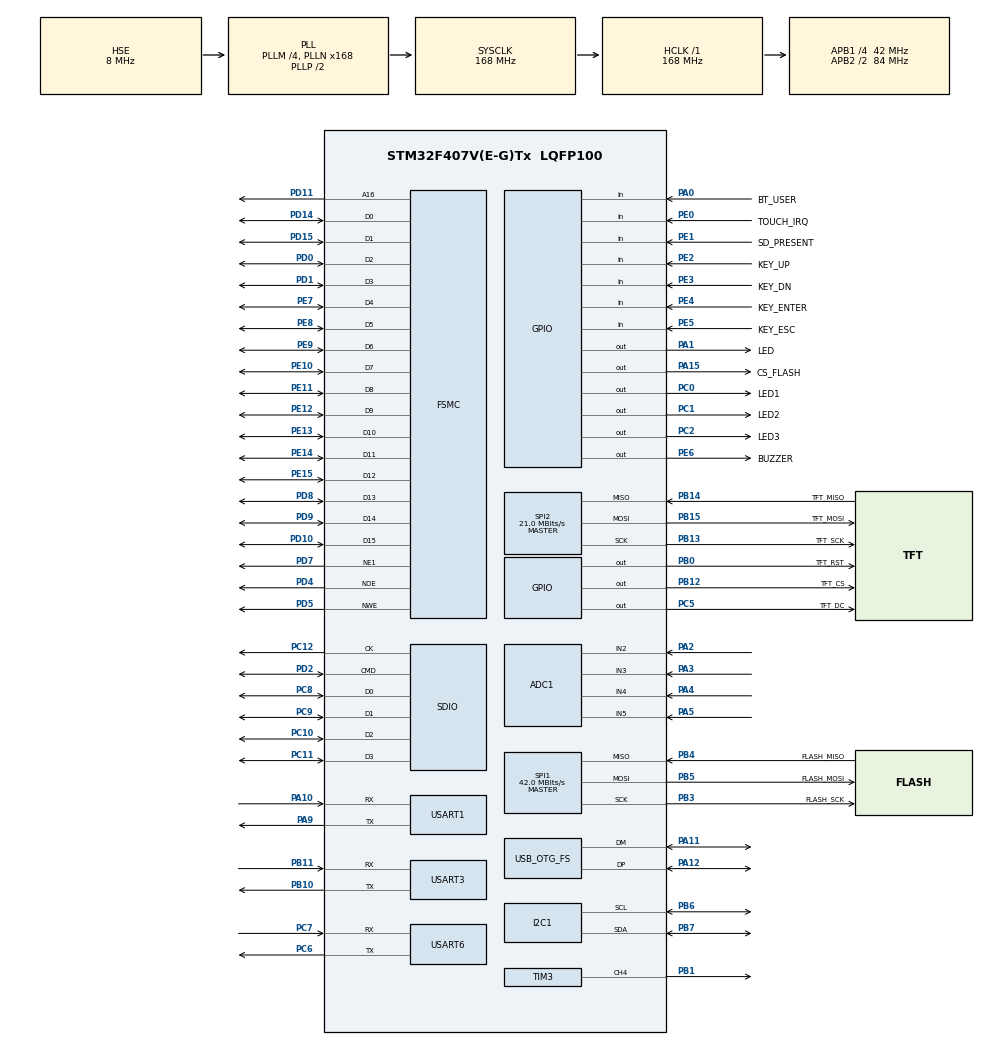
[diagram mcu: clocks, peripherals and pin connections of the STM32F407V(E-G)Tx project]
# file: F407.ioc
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ADC1.Channel-0\#ChannelRegularConversion=ADC_CHANNEL_2
ADC1.Channel-4\#ChannelRegularConversion=ADC_CHANNEL_3
ADC1.Channel-5\#ChannelRegularConversion=ADC_CHANNEL_4
ADC1.Channel-6\#ChannelRegularConversion=ADC_CHANNEL_5
ADC1.ContinuousConvMode=ENABLE
ADC1.DMAContinuousRequests=ENABLE
ADC1.EOCSelection=ADC_EOC_SEQ_CONV
ADC1.NbrOfConversion=4
ADC1.NbrOfConversionFlag=1
ADC1.Rank-0\#ChannelRegularConversion=1
ADC1.Rank-4\#ChannelRegularConversion=2
ADC1.Rank-5\#ChannelRegularConversion=3
ADC1.Rank-6\#ChannelRegularConversion=4
ADC1.SamplingTime-0\#ChannelRegularConversion=ADC_SAMPLETIME_28CYCLES
ADC1.SamplingTime-4\#ChannelRegularConversion=ADC_SAMPLETIME_28CYCLES
ADC1.SamplingTime-5\#ChannelRegularConversion=ADC_SAMPLETIME_28CYCLES
ADC1.SamplingTime-6\#ChannelRegularConversion=ADC_SAMPLETIME_28CYCLES
ADC1.master=1
ARM.CMSIS.5.6.0.CMSISJjDSP=Library
Dma.ADC1.2.Direction=DMA_PERIPH_TO_MEMORY
Dma.ADC1.2.FIFOMode=DMA_FIFOMODE_DISABLE
Dma.ADC1.2.Instance=DMA2_Stream0
Dma.ADC1.2.MemDataAlignment=DMA_MDATAALIGN_HALFWORD
Dma.ADC1.2.MemInc=DMA_MINC_ENABLE
Dma.ADC1.2.Mode=DMA_CIRCULAR
Dma.ADC1.2.PeriphDataAlignment=DMA_PDATAALIGN_HALFWORD
Dma.ADC1.2.PeriphInc=DMA_PINC_DISABLE
Dma.ADC1.2.Priority=DMA_PRIORITY_LOW
Dma.MEMTOMEM.4.Direction=DMA_MEMORY_TO_MEMORY
Dma.MEMTOMEM.4.FIFOMode=DMA_FIFOMODE_ENABLE
Dma.MEMTOMEM.4.FIFOThreshold=DMA_FIFO_THRESHOLD_FULL
Dma.MEMTOMEM.4.Instance=DMA2_Stream1
Dma.MEMTOMEM.4.MemBurst=DMA_MBURST_SINGLE
Dma.MEMTOMEM.4.MemDataAlignment=DMA_MDATAALIGN_BYTE
Dma.MEMTOMEM.4.MemInc=DMA_MINC_ENABLE
Dma.MEMTOMEM.4.Mode=DMA_NORMAL
Dma.MEMTOMEM.4.PeriphBurst=DMA_PBURST_SINGLE
Dma.MEMTOMEM.4.PeriphDataAlignment=DMA_PDATAALIGN_BYTE
Dma.MEMTOMEM.4.PeriphInc=DMA_PINC_ENABLE
Dma.MEMTOMEM.4.Priority=DMA_PRIORITY_LOW
Dma.Request0=SDIO_RX
Dma.Request1=SDIO_TX
Dma.Request2=ADC1
Dma.Request3=SPI1_RX
Dma.Request4=MEMTOMEM
Dma.Request5=SPI2_RX
Dma.SDIO_RX.0.Direction=DMA_PERIPH_TO_MEMORY
Dma.SDIO_RX.0.FIFOMode=DMA_FIFOMODE_ENABLE
Dma.SDIO_RX.0.FIFOThreshold=DMA_FIFO_THRESHOLD_FULL
Dma.SDIO_RX.0.Instance=DMA2_Stream3
Dma.SDIO_RX.0.MemBurst=DMA_MBURST_INC4
Dma.SDIO_RX.0.MemDataAlignment=DMA_MDATAALIGN_WORD
Dma.SDIO_RX.0.MemInc=DMA_MINC_ENABLE
Dma.SDIO_RX.0.Mode=DMA_PFCTRL
Dma.SDIO_RX.0.PeriphBurst=DMA_PBURST_INC4
Dma.SDIO_RX.0.PeriphDataAlignment=DMA_PDATAALIGN_WORD
Dma.SDIO_RX.0.PeriphInc=DMA_PINC_DISABLE
Dma.SDIO_RX.0.Priority=DMA_PRIORITY_LOW
Dma.SDIO_TX.1.Direction=DMA_MEMORY_TO_PERIPH
Dma.SDIO_TX.1.FIFOMode=DMA_FIFOMODE_ENABLE
Dma.SDIO_TX.1.FIFOThreshold=DMA_FIFO_THRESHOLD_FULL
Dma.SDIO_TX.1.Instance=DMA2_Stream6
Dma.SDIO_TX.1.MemBurst=DMA_MBURST_INC4
Dma.SDIO_TX.1.MemDataAlignment=DMA_MDATAALIGN_WORD
Dma.SDIO_TX.1.MemInc=DMA_MINC_ENABLE
Dma.SDIO_TX.1.Mode=DMA_PFCTRL
Dma.SDIO_TX.1.PeriphBurst=DMA_PBURST_INC4
Dma.SDIO_TX.1.PeriphDataAlignment=DMA_PDATAALIGN_WORD
Dma.SDIO_TX.1.PeriphInc=DMA_PINC_DISABLE
Dma.SDIO_TX.1.Priority=DMA_PRIORITY_LOW
Dma.SPI1_RX.3.Direction=DMA_PERIPH_TO_MEMORY
Dma.SPI1_RX.3.FIFOMode=DMA_FIFOMODE_DISABLE
Dma.SPI1_RX.3.Instance=DMA2_Stream2
Dma.SPI1_RX.3.MemDataAlignment=DMA_MDATAALIGN_BYTE
Dma.SPI1_RX.3.MemInc=DMA_MINC_ENABLE
Dma.SPI1_RX.3.Mode=DMA_NORMAL
Dma.SPI1_RX.3.PeriphDataAlignment=DMA_PDATAALIGN_BYTE
Dma.SPI1_RX.3.PeriphInc=DMA_PINC_DISABLE
Dma.SPI1_RX.3.Priority=DMA_PRIORITY_LOW
Dma.SPI2_RX.5.Direction=DMA_PERIPH_TO_MEMORY
Dma.SPI2_RX.5.FIFOMode=DMA_FIFOMODE_DISABLE
Dma.SPI2_RX.5.Instance=DMA1_Stream3
Dma.SPI2_RX.5.MemDataAlignment=DMA_MDATAALIGN_BYTE
Dma.SPI2_RX.5.MemInc=DMA_MINC_ENABLE
Dma.SPI2_RX.5.Mode=DMA_NORMAL
Dma.SPI2_RX.5.PeriphDataAlignment=DMA_PDATAALIGN_BYTE
Dma.SPI2_RX.5.PeriphInc=DMA_PINC_DISABLE
Dma.SPI2_RX.5.Priority=DMA_PRIORITY_LOW
FATFS.BSP.number=1
FATFS.USE_DMA_CODE_SD=1
FATFS._FS_EXFAT=1
FATFS._MAX_SS=512
FATFS._USE_LFN=3
FATFS0.BSP.STBoard=false
FATFS0.BSP.api=Unknown
FATFS0.BSP.i2caddr=0
FATFS0.BSP.instance=PE1
FATFS0.BSP.ip=GPIO
FATFS0.BSP.mode=Input
FATFS0.BSP.name=Detect_SDIO
FATFS0.BSP.solution=PE1
FREERTOS.Tasks01=defaultTask,24,512,StartDefaultTask,Default,NULL,Dynamic,NULL,NULL;TaskGUI,25,6000,StartTaskGUI,Default,NULL,Dynamic,NULL,NULL
FREERTOS.configENABLE_FPU=1
FREERTOS.configMINIMAL_STACK_SIZE=512
FREERTOS.configTOTAL_HEAP_SIZE=32767
FSMC.DataSetupTime1=254
FSMC.ExtendedMode1=FSMC_EXTENDED_MODE_ENABLE
I2C1.I2C_Mode=I2C_Fast
Mcu.Family=STM32F4
Mcu.Name=STM32F407V(E-G)Tx
Mcu.Package=LQFP100
NVIC.ADC_IRQn=true\:5\:0\:false\:false\:true\:true\:true\:true
NVIC.DMA1_Stream3_IRQn=true\:5\:0\:false\:false\:true\:true\:false\:true
NVIC.DMA2_Stream0_IRQn=true\:5\:0\:false\:false\:true\:true\:false\:true
NVIC.DMA2_Stream2_IRQn=true\:5\:0\:false\:false\:true\:true\:false\:true
NVIC.DMA2_Stream3_IRQn=true\:5\:0\:false\:false\:true\:true\:false\:true
NVIC.DMA2_Stream6_IRQn=true\:5\:0\:false\:false\:true\:true\:false\:true
NVIC.OTG_FS_IRQn=true\:5\:0\:false\:false\:true\:true\:false\:true
NVIC.PriorityGroup=NVIC_PRIORITYGROUP_4
NVIC.SDIO_IRQn=true\:5\:0\:false\:false\:true\:true\:true\:true
NVIC.SPI1_IRQn=true\:5\:0\:false\:false\:true\:true\:true\:true
NVIC.SPI2_IRQn=true\:5\:0\:false\:false\:true\:true\:true\:true
NVIC.TIM6_DAC_IRQn=true\:0\:0\:false\:false\:true\:false\:false\:true
NVIC.TimeBase=TIM6_DAC_IRQn
NVIC.TimeBaseIP=TIM6
NVIC.USART1_IRQn=true\:5\:0\:false\:false\:true\:true\:true\:true
NVIC.USART6_IRQn=true\:5\:0\:false\:false\:true\:true\:true\:true
PA0-WKUP.GPIO_Label=BT_USER
PA0-WKUP.GPIO_PuPd=GPIO_PULLDOWN
PA0-WKUP.Signal=GPIO_Input
PA1.GPIO_Label=LED
PA1.PinState=GPIO_PIN_SET
PA1.Signal=GPIO_Output
PA10.Mode=Asynchronous
PA10.Signal=USART1_RX
PA11.Mode=Device_Only
PA11.Signal=USB_OTG_FS_DM
PA12.Mode=Device_Only
PA12.Signal=USB_OTG_FS_DP
PA13.Mode=Serial_Wire
PA13.Signal=SYS_JTMS-SWDIO
PA14.Mode=Serial_Wire
PA14.Signal=SYS_JTCK-SWCLK
PA15.GPIO_Label=CS_FLASH
PA15.PinState=GPIO_PIN_SET
PA15.Signal=GPIO_Output
PA2.Signal=ADCx_IN2
PA3.Signal=ADCx_IN3
PA4.Signal=ADCx_IN4
PA5.Signal=ADCx_IN5
PA9.Mode=Asynchronous
PA9.Signal=USART1_TX
PB0.GPIO_Label=TFT_RST
PB0.PinState=GPIO_PIN_SET
PB0.Signal=GPIO_Output
PB1.Signal=S_TIM3_CH4
PB10.Mode=Asynchronous
PB10.Signal=USART3_TX
PB11.Mode=Asynchronous
PB11.Signal=USART3_RX
PB12.GPIO_Label=TFT_CS
PB12.PinState=GPIO_PIN_SET
PB12.Signal=GPIO_Output
PB13.GPIO_Label=TFT_SCK
PB13.Mode=Full_Duplex_Master
PB13.Signal=SPI2_SCK
PB14.GPIO_Label=TFT_MISO
PB14.Mode=Full_Duplex_Master
PB14.Signal=SPI2_MISO
PB15.GPIO_Label=TFT_MOSI
PB15.Mode=Full_Duplex_Master
PB15.Signal=SPI2_MOSI
PB3.GPIO_Label=FLASH_SCK
PB3.Mode=Full_Duplex_Master
PB3.Signal=SPI1_SCK
PB4.GPIO_Label=FLASH_MISO
PB4.Mode=Full_Duplex_Master
PB4.Signal=SPI1_MISO
PB5.GPIO_Label=FLASH_MOSI
PB5.Mode=Full_Duplex_Master
PB5.Signal=SPI1_MOSI
PB6.Mode=I2C
PB6.Signal=I2C1_SCL
PB7.Mode=I2C
PB7.Signal=I2C1_SDA
PC0.GPIO_Label=LED1
PC0.PinState=GPIO_PIN_SET
PC0.Signal=GPIO_Output
PC1.GPIO_Label=LED2
PC1.PinState=GPIO_PIN_SET
PC1.Signal=GPIO_Output
PC10.GPIO_PuPd=GPIO_PULLUP
PC10.Mode=SD_4_bits_Wide_bus
PC10.Signal=SDIO_D2
PC11.GPIO_PuPd=GPIO_PULLUP
PC11.Mode=SD_4_bits_Wide_bus
PC11.Signal=SDIO_D3
PC12.GPIO_PuPd=GPIO_PULLUP
PC12.Mode=SD_4_bits_Wide_bus
PC12.Signal=SDIO_CK
PC14-OSC32_IN.Mode=LSE-External-Oscillator
PC14-OSC32_IN.Signal=RCC_OSC32_IN
PC15-OSC32_OUT.Mode=LSE-External-Oscillator
PC15-OSC32_OUT.Signal=RCC_OSC32_OUT
PC2.GPIO_Label=LED3
PC2.PinState=GPIO_PIN_SET
PC2.Signal=GPIO_Output
PC5.GPIO_Label=TFT_DC
PC5.PinState=GPIO_PIN_SET
PC5.Signal=GPIO_Output
PC6.Mode=Asynchronous
PC6.Signal=USART6_TX
PC7.Mode=Asynchronous
PC7.Signal=USART6_RX
PC8.GPIO_PuPd=GPIO_PULLUP
PC8.Mode=SD_4_bits_Wide_bus
PC8.Signal=SDIO_D0
PC9.GPIO_PuPd=GPIO_PULLUP
PC9.Mode=SD_4_bits_Wide_bus
PC9.Signal=SDIO_D1
PD0.Mode=16b-d1
PD0.Signal=FSMC_D2
PD1.Mode=16b-d1
PD1.Signal=FSMC_D3
PD10.Mode=16b-d1
PD10.Signal=FSMC_D15
PD11.Mode=A16_1
PD11.Signal=FSMC_A16
PD14.Mode=16b-d1
PD14.Signal=FSMC_D0
PD15.Mode=16b-d1
PD15.Signal=FSMC_D1
PD2.GPIO_PuPd=GPIO_PULLUP
PD2.Mode=SD_4_bits_Wide_bus
PD2.Signal=SDIO_CMD
PD4.Mode=Lcd1
PD4.Signal=FSMC_NOE
PD5.Mode=Lcd1
PD5.Signal=FSMC_NWE
PD7.Mode=NorPsramChipSelect1_1
PD7.Signal=FSMC_NE1
PD8.Mode=16b-d1
PD8.Signal=FSMC_D13
PD9.Mode=16b-d1
PD9.Signal=FSMC_D14
PE0.GPIO_Label=TOUCH_IRQ
PE0.GPIO_PuPd=GPIO_PULLUP
PE0.Signal=GPIO_Input
PE1.GPIO_Label=SD_PRESENT
PE1.GPIO_PuPd=GPIO_PULLUP
PE1.Signal=GPIO_Input
PE10.Mode=16b-d1
PE10.Signal=FSMC_D7
PE11.Mode=16b-d1
PE11.Signal=FSMC_D8
PE12.Mode=16b-d1
PE12.Signal=FSMC_D9
PE13.Mode=16b-d1
PE13.Signal=FSMC_D10
PE14.Mode=16b-d1
PE14.Signal=FSMC_D11
PE15.Mode=16b-d1
PE15.Signal=FSMC_D12
PE2.GPIO_Label=KEY_UP
PE2.GPIO_PuPd=GPIO_PULLUP
PE2.Signal=GPIO_Input
PE3.GPIO_Label=KEY_DN
PE3.GPIO_PuPd=GPIO_PULLUP
PE3.Signal=GPIO_Input
PE4.GPIO_Label=KEY_ENTER
PE4.GPIO_PuPd=GPIO_PULLUP
PE4.Signal=GPIO_Input
PE5.GPIO_Label=KEY_ESC
PE5.GPIO_PuPd=GPIO_PULLUP
PE5.Signal=GPIO_Input
PE6.GPIO_Label=BUZZER
PE6.Signal=GPIO_Output
PE7.Mode=16b-d1
PE7.Signal=FSMC_D4
PE8.Mode=16b-d1
PE8.Signal=FSMC_D5
PE9.Mode=16b-d1
PE9.Signal=FSMC_D6
PH0-OSC_IN.Mode=HSE-External-Oscillator
PH0-OSC_IN.Signal=RCC_OSC_IN
PH1-OSC_OUT.Mode=HSE-External-Oscillator
PH1-OSC_OUT.Signal=RCC_OSC_OUT
ProjectManager.HeapSize=0x200
ProjectManager.StackSize=0x400
ProjectManager.TargetToolchain=STM32CubeIDE
RCC.48MHZClocksFreq_Value=48000000
RCC.AHBFreq_Value=168000000
RCC.APB1CLKDivider=RCC_HCLK_DIV4
RCC.APB1Freq_Value=42000000
RCC.APB1TimFreq_Value=84000000
RCC.APB2CLKDivider=RCC_HCLK_DIV2
RCC.APB2Freq_Value=84000000
RCC.APB2TimFreq_Value=168000000
RCC.CortexFreq_Value=168000000
RCC.HCLKFreq_Value=168000000
RCC.HSE_VALUE=8000000
RCC.HSI_VALUE=16000000
RCC.PLLM=4
RCC.PLLN=168
RCC.PLLQ=7
RCC.RCC_RTC_Clock_Source=RCC_RTCCLKSOURCE_LSE
RCC.RCC_RTC_Clock_SourceVirtual=RCC_RTCCLKSOURCE_LSE
RCC.SYSCLKFreq_VALUE=168000000
RCC.SYSCLKSource=RCC_SYSCLKSOURCE_PLLCLK
RCC.VCOOutputFreq_Value=336000000
SDIO.ClockDiv=0
SH.ADCx_IN2.0=ADC1_IN2,IN2
SH.ADCx_IN3.0=ADC1_IN3,IN3
SH.ADCx_IN4.0=ADC1_IN4,IN4
SH.ADCx_IN5.0=ADC1_IN5,IN5
SH.S_TIM3_CH4.0=TIM3_CH4,PWM Generation4 CH4
SPI1.BaudRatePrescaler=SPI_BAUDRATEPRESCALER_2
SPI1.CalculateBaudRate=42.0 MBits/s
SPI1.Direction=SPI_DIRECTION_2LINES
SPI1.Mode=SPI_MODE_MASTER
SPI1.VirtualType=VM_MASTER
SPI2.BaudRatePrescaler=SPI_BAUDRATEPRESCALER_2
SPI2.CalculateBaudRate=21.0 MBits/s
SPI2.Direction=SPI_DIRECTION_2LINES
SPI2.Mode=SPI_MODE_MASTER
SPI2.VirtualType=VM_MASTER
TIM3.Channel-PWM\ Generation4\ CH4=TIM_CHANNEL_4
TIM3.Period=4095
TIM3.Prescaler=1
USART1.VirtualMode=VM_ASYNC
USART3.VirtualMode=VM_ASYNC
USART6.VirtualMode=VM_ASYNC
USB_DEVICE.CLASS_NAME_FS=CDC
USB_DEVICE.VirtualMode-CDC_FS=Cdc
USB_DEVICE.VirtualModeFS=Cdc_FS
USB_OTG_FS.VirtualMode=Device_Only
VP_ADC1_TempSens_Input.Mode=IN-TempSens
VP_ADC1_Vbat_Input.Mode=IN-Vbat
VP_CRC_VS_CRC.Mode=CRC_Activate
VP_FATFS_VS_SDIO.Mode=SDIO
VP_FREERTOS_VS_CMSIS_V2.Mode=CMSIS_V2
VP_RNG_VS_RNG.Mode=RNG_Activate
VP_RTC_VS_RTC_Activate.Mode=RTC_Enabled
VP_SYS_VS_tim6.Mode=TIM6
VP_TIM3_VS_ClockSourceINT.Mode=Internal
VP_USB_DEVICE_VS_USB_DEVICE_CDC_FS.Mode=CDC_FS
board=custom

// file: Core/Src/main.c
/* USER CODE BEGIN Header */
/**
  ******************************************************************************
  * @file           : main.c
  * @brief          : Main program body
  ******************************************************************************
  * @attention
  *
  * <h2><center>&copy; Copyright (c) 2020 STMicroelectronics.
  * All rights reserved.</center></h2>
  *
  * This software component is licensed by ST under BSD 3-Clause license,
  * the "License"; You may not use this file except in compliance with the
  * License. You may obtain a copy of the License at:
  *                        opensource.org/licenses/BSD-3-Clause
  *
  ******************************************************************************
  */
/* USER CODE END Header */

#include "main.h"
#include "cmsis_os.h"
#include "adc.h"
#include "crc.h"
#include "dma.h"
#include "fatfs.h"
#include "i2c.h"
#include "rng.h"
#include "rtc.h"
#include "sdio.h"
#include "spi.h"
#include "tim.h"
#include "usart.h"
#include "usb_device.h"
#include "gpio.h"
#include "fsmc.h"

/* USER CODE BEGIN Includes */
#include "usbd_cdc_if.h"
#include "lvgl/lvgl.h"
#include "lv_fs_if/lv_fs_if.h"
#include "Sinteck/Driver/Drv_SSD1963.h"
#include "Sinteck/Driver/Drv_XPT2046.h"
#include "Sinteck/src/log_cdc.h"
#include "Sinteck/src/w25qxx.h"
#include "Sinteck/src/keys.h"
#include "lv_examples/lv_apps/benchmark/benchmark.h"
#include "lv_examples/lv_apps/sysmon/sysmon.h"
#include "lv_examples/lv_apps/demo/demo.h"
#include "lv_examples/lv_apps/tpcal/tpcal.h"

#include "Sinteck/GUI/Screen_Main.h"
/* USER CODE END Includes */

/* USER CODE BEGIN PTD */
#define BANK1_LCD_C    ((uint32_t)0x60000000)    // Disp Reg  ADDR
#define BANK1_LCD_D_8  ((uint32_t)0x60010000)    // Disp Data ADDR 8Bits
#define BANK1_LCD_D_16 ((uint32_t)0x60010000)    // Disp Data ADDR 16Bits
/* USER CODE END PTD */

void SystemClock_Config(void);
void MX_FREERTOS_Init(void);

/* USER CODE BEGIN 0 */
uint32_t timer_key = 0;
uint16_t adcBuffer[4]; // Buffer for store the results of the ADC conversion

extern uint32_t duracao;
extern uint8_t rData[];

extern FATFS *pfs;
extern char line[]; /* Line buffer */
extern FRESULT fr;     /* FatFs return code */
extern DWORD fre_clust;
extern uint32_t totalSpace, freeSpace;
extern uint32_t size;
extern unsigned int ByteRead;
extern uint32_t timer_sd;

/* USER CODE END 0 */

int main(void)
{

  /* MCU Configuration--------------------------------------------------------*/

  /* Reset of all peripherals, Initializes the Flash interface and the Systick. */
  HAL_Init();

  /* Configure the system clock */
  SystemClock_Config();

  /* Initialize all configured peripherals */
  MX_GPIO_Init();
  MX_DMA_Init();
  MX_ADC1_Init();
  MX_FSMC_Init();
  MX_I2C1_Init();
  MX_RTC_Init();
  MX_SDIO_SD_Init();
  MX_SPI1_Init();
  MX_SPI2_Init();
  MX_TIM3_Init();
  MX_USART1_UART_Init();
  MX_CRC_Init();
  MX_RNG_Init();
  MX_USART3_UART_Init();
  MX_USART6_UART_Init();
  /* USER CODE BEGIN 2 */

  logI("STM32F407 Test....\n\r");
  HAL_ADC_Start_DMA(&hadc1, (uint32_t*)adcBuffer, 4); // Start ADC in DMA
  HAL_TIM_PWM_Start(&htim3, TIM_CHANNEL_4);
  __HAL_TIM_SetCompare(&htim3, TIM_CHANNEL_4, 0);
  // Init Flash SPI
  W25qxx_Init();
  BSP_SD_Init();

   logI("\r\n\r\n");
   logI(" W25Q128FV SPI Test Start\n\r");

   duracao = HAL_GetTick();
   W25qxx_ReadBytes(rData, 0, 512);
   duracao = HAL_GetTick() - duracao;

   logI(" W25Q128FV SPI Test End. ( Sector = 512 ) Duracao: %ld\r\n", duracao);
   logI("\r\n\r\n");

//   logI(" W25Q128FV SPI Test Start\n\r");

 //  duracao = HAL_GetTick();
 //  W25qxx_ReadBytes(rData, 0, 4096);
//   duracao = HAL_GetTick() - duracao;

//   logI(" W25Q128FV SPI Test End. ( Sector = 4096 ) Duracao: %ld\r\n", duracao);
   logI("\r\n\r\n");

//tst:
//
//  //HAL_GPIO_TogglePin(TFT_RST_GPIO_Port, TFT_RST_Pin);
//
//  //HAL_Delay(1);
//
//*(__IO uint8_t *)(BANK1_LCD_C) = 0x55;
//*(__IO uint8_t *)(BANK1_LCD_D_8) = 0xAA;
//
//*(__IO uint8_t *)(BANK1_LCD_C) = 0x55;
//*(__IO uint16_t *)(BANK1_LCD_D_16) = 0xAA55;
//
//
//  goto tst;

   /* USER CODE END 2 */

  /* Init scheduler */
  osKernelInitialize();  /* Call init function for freertos objects (in freertos.c) */
  MX_FREERTOS_Init();
  /* Start scheduler */
  osKernelStart();

  /* We should never get here as control is now taken by the scheduler */
  /* Infinite loop */
  while (1)
  {

  }
}

void SystemClock_Config(void)
{
  RCC_OscInitTypeDef RCC_OscInitStruct = {0};
  RCC_ClkInitTypeDef RCC_ClkInitStruct = {0};
  RCC_PeriphCLKInitTypeDef PeriphClkInitStruct = {0};

  /** Configure the main internal regulator output voltage
  */
  __HAL_RCC_PWR_CLK_ENABLE();
  __HAL_PWR_VOLTAGESCALING_CONFIG(PWR_REGULATOR_VOLTAGE_SCALE1);
  /** Initializes the CPU, AHB and APB busses clocks
  */
  RCC_OscInitStruct.OscillatorType = RCC_OSCILLATORTYPE_HSE|RCC_OSCILLATORTYPE_LSE;
  RCC_OscInitStruct.HSEState = RCC_HSE_ON;
  RCC_OscInitStruct.LSEState = RCC_LSE_ON;
  RCC_OscInitStruct.PLL.PLLState = RCC_PLL_ON;
  RCC_OscInitStruct.PLL.PLLSource = RCC_PLLSOURCE_HSE;
  RCC_OscInitStruct.PLL.PLLM = 4;
  RCC_OscInitStruct.PLL.PLLN = 168;
  RCC_OscInitStruct.PLL.PLLP = RCC_PLLP_DIV2;
  RCC_OscInitStruct.PLL.PLLQ = 7;
  if (HAL_RCC_OscConfig(&RCC_OscInitStruct) != HAL_OK)
  {
    Error_Handler();
  }
  /** Initializes the CPU, AHB and APB busses clocks
  */
  RCC_ClkInitStruct.ClockType = RCC_CLOCKTYPE_HCLK|RCC_CLOCKTYPE_SYSCLK
                              |RCC_CLOCKTYPE_PCLK1|RCC_CLOCKTYPE_PCLK2;
  RCC_ClkInitStruct.SYSCLKSource = RCC_SYSCLKSOURCE_PLLCLK;
  RCC_ClkInitStruct.AHBCLKDivider = RCC_SYSCLK_DIV1;
  RCC_ClkInitStruct.APB1CLKDivider = RCC_HCLK_DIV4;
  RCC_ClkInitStruct.APB2CLKDivider = RCC_HCLK_DIV2;

  if (HAL_RCC_ClockConfig(&RCC_ClkInitStruct, FLASH_LATENCY_5) != HAL_OK)
  {
    Error_Handler();
  }
  PeriphClkInitStruct.PeriphClockSelection = RCC_PERIPHCLK_RTC;
  PeriphClkInitStruct.RTCClockSelection = RCC_RTCCLKSOURCE_LSE;
  if (HAL_RCCEx_PeriphCLKConfig(&PeriphClkInitStruct) != HAL_OK)
  {
    Error_Handler();
  }
}

 /**
  * @brief  Period elapsed callback in non blocking mode
  * @note   This function is called  when TIM6 interrupt took place, inside
  * HAL_TIM_IRQHandler(). It makes a direct call to HAL_IncTick() to increment
  * a global variable "uwTick" used as application time base.
  * @param  htim : TIM handle
  * @retval None
  */
void HAL_TIM_PeriodElapsedCallback(TIM_HandleTypeDef *htim)
{
  if (htim->Instance == TIM6) {
    HAL_IncTick();
  }
  /* USER CODE BEGIN Callback 1 */
  if (htim->Instance == TIM6) {
	  lv_tick_inc(1);
  }
  if (htim->Instance == TIM6) {
	  timer_key++;
	  if(timer_key >= 30) {
		  timer_key = 0;
		  Key_Read();
	  }
  }
  /* USER CODE END Callback 1 */
}

void Error_Handler(void)
{
}

/************************ (C) COPYRIGHT STMicroelectronics *****END OF FILE****/

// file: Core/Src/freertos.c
/* USER CODE BEGIN Header */
/**
  ******************************************************************************
  * File Name          : freertos.c
  * Description        : Code for freertos applications
  ******************************************************************************
  * @attention
  *
  * <h2><center>&copy; Copyright (c) 2020 STMicroelectronics.
  * All rights reserved.</center></h2>
  *
  * This software component is licensed by ST under Ultimate Liberty license
  * SLA0044, the "License"; You may not use this file except in compliance with
  * the License. You may obtain a copy of the License at:
  *                             www.st.com/SLA0044
  *
  ******************************************************************************
  */
/* USER CODE END Header */

#include "FreeRTOS.h"
#include "task.h"
#include "main.h"
#include "cmsis_os.h"

/* USER CODE BEGIN Includes */
#include "fatfs.h"
#include "usbd_cdc_if.h"
#include "lvgl/lvgl.h"
#include "lv_fs_if/lv_fs_if.h"
#include "Sinteck/Driver/Drv_SSD1963.h"
#include "Sinteck/Driver/Drv_XPT2046.h"
#include "Sinteck/src/log_cdc.h"
#include "Sinteck/src/w25qxx.h"
#include "Sinteck/src/keys.h"

#include "lv_examples/lv_apps/benchmark/benchmark.h"
#include "lv_examples/lv_apps/sysmon/sysmon.h"
#include "lv_examples/lv_apps/demo/demo.h"
#include "lv_examples/lv_apps/tpcal/tpcal.h"

#include "Sinteck/GUI/Screen_Main.h"
/* USER CODE END Includes */

/* USER CODE BEGIN PTD */
static lv_disp_buf_t disp_buf;
static lv_color_t buf[LV_HOR_RES_MAX * 20];		// Declare a buffer for 10 lines
//static lv_color_t buf2[LV_HOR_RES_MAX * 10];	// Declare a buffer for 10 lines
/* USER CODE END PTD */

/* USER CODE BEGIN PD */
extern uint8_t retSD;    /* Return value for SD */
extern char SDPath[4];   /* SD logical drive path */
extern FATFS SDFatFS;    /* File system object for SD logical drive */
extern FIL SDFile;       /* File object for SD */

FATFS *pfs;
char line[100]; /* Line buffer */
FRESULT fr;     /* FatFs return code */
DWORD fre_clust;
uint32_t totalSpace, freeSpace;
uint32_t size;
unsigned int ByteRead;

uint8_t rData[2048];

uint32_t Btn_K1_0 = 0;
uint32_t Btn_K1_1 = 0;
uint32_t timer_adc = 0;
uint32_t timer_sd = 0;
uint32_t timer_led = 0;
uint32_t duracao = 0;
float tensao, corrente, potencia, setVolts, setAMP;

extern uint16_t adcBuffer[4]; // Buffer for store the results of the ADC conversion

/* USER CODE END PD */

/* USER CODE BEGIN PM */
uint32_t read_btn_user(void);
void Mount_FATFS(void);
/* USER CODE END PM */

/* Definitions for defaultTask */
osThreadId_t defaultTaskHandle;
const osThreadAttr_t defaultTask_attributes = {
  .name = "defaultTask",
  .priority = (osPriority_t) osPriorityNormal,
  .stack_size = 512 * 4
};
/* Definitions for TaskGUI */
osThreadId_t TaskGUIHandle;
const osThreadAttr_t TaskGUI_attributes = {
  .name = "TaskGUI",
  .priority = (osPriority_t) osPriorityNormal,
  .stack_size = 6000 * 4
};

void StartDefaultTask(void *argument);
void StartTaskGUI(void *argument);

extern void MX_USB_DEVICE_Init(void);
void MX_FREERTOS_Init(void); /* (MISRA C 2004 rule 8.1) */

void MX_FREERTOS_Init(void) {

  /* Create the thread(s) */
  /* creation of defaultTask */
  defaultTaskHandle = osThreadNew(StartDefaultTask, NULL, &defaultTask_attributes);

  /* creation of TaskGUI */
  TaskGUIHandle = osThreadNew(StartTaskGUI, NULL, &TaskGUI_attributes);

}

void StartDefaultTask(void *argument)
{
  /* init code for USB_DEVICE */
  MX_USB_DEVICE_Init();
  /* USER CODE BEGIN StartDefaultTask */
  // Mount SD-CARD
  Mount_FATFS();

  /* Infinite loop */
  for(;;)
  {
	  // Pisca Led 100ms
	  HAL_GPIO_TogglePin(GPIOA, LED_Pin);

	  // Test Button K1
	  if(!read_btn_user()) {
		  CDC_Transmit_FS((uint8_t*)"E - Print\n", 14);
	  }

	  // Transmite ADC Value
	   logI("ADC1: %ld, ADC2: %ld, ADC3: %ld, ADC4: %ld\n",
				  adcBuffer[0], adcBuffer[1], adcBuffer[2], adcBuffer[3]);

	   osDelay(100);
  }
  /* USER CODE END StartDefaultTask */
}

void StartTaskGUI(void *argument)
{
  /* USER CODE BEGIN StartTaskGUI */
	 // Init SSD1963
	  drv_ssd1963_init();
	  drv_ssd1963_SetBacklight(200);

	  lv_disp_buf_init(&disp_buf, buf, NULL, LV_HOR_RES_MAX * 20);    // Initialize the display buffer
	  lv_init();

	   // Lvgl File System
	   lv_fs_if_init();

	   // LVGL Setup
	   lv_disp_drv_t disp_drv;               	// Descriptor of a display driver
	   lv_disp_drv_init(&disp_drv);          	// Basic initialization
	   // SSD1963
	   disp_drv.hor_res = 800;               	// Set the horizontal resolution
	   disp_drv.ver_res = 480;               	// Set the vertical resolution
	   disp_drv.flush_cb = drv_ssd1963_flush;	// Set your driver function
	   disp_drv.buffer = &disp_buf;          	// Assign the buffer to teh display
	   disp_drv.monitor_cb = my_monitor_cb;
	   lv_disp_drv_register(&disp_drv);      	// Finally register the driver

	   //Initialize the touch pad
	   XPT2046_init();
	   lv_indev_drv_t indev_drv;
	   lv_indev_drv_init(&indev_drv);  //Basic initialization
	   indev_drv.type = LV_INDEV_TYPE_POINTER;
	   indev_drv.read_cb = XPT2046_read;
	   lv_indev_t * mouse_indev = lv_indev_drv_register(&indev_drv);

	   // Mouse Icon
	   LV_IMG_DECLARE(mouse_cursor_icon);                          /*Declare the image file.*/
	   lv_obj_t * cursor_obj =  lv_img_create(lv_scr_act(), NULL); /*Create an image object for the cursor */
	   lv_img_set_src(cursor_obj, &mouse_cursor_icon);             /*Set the image source*/
	   lv_indev_set_cursor(mouse_indev, cursor_obj);               /*Connect the image  object to the driver*/

	   //demo_create();
	   //benchmark_create();
	   //sysmon_create();
	   GUI_PowerSupply();
	   //tpcal_create();
  /* Infinite loop */
  for(;;)
  {
	  // Eventos de Teclado
	  KeyboardEvent();
	  // Eventos da GUI LittleVGL
	  lv_task_handler();

	  osDelay(10);
  }
  /* USER CODE END StartTaskGUI */
}

/* USER CODE BEGIN Application */
void Mount_FATFS(void)
{
	  MX_FATFS_Init();

	  if( retSD != 0) {
		 // Erro FATFS
		 logI("STM32F407 FatFs - ERROR...\n\r");
	  }
	  else {
		  logI("STM32F407 FatFs - OK...\n\r");
	  }

	  if(f_mount(&SDFatFS, "", 0) != FR_OK) {
		  logI("STM32F407 FatFs - Mount Drive ERROR...\n\r");
	  }
	  else {
		  logI("STM32F407 FatFs - Mount Drive...\n\r");
	  }
	  // Check freeSpace space
	  if(f_getfree("", &fre_clust, &pfs) != FR_OK){
	  }

	  totalSpace = (uint32_t)((pfs->n_fatent - 2) * pfs->csize);
	  freeSpace = (uint32_t)(fre_clust * pfs->csize);

	  logI("STM32F407 FatFs - %10lu KiB total drive space. %10lu KiB available.\n", totalSpace / 2, freeSpace / 2);

	  // Test Open config.txt
	  fr = f_open(&SDFile, "/Config.bin", FA_READ);
	  if(fr != FR_OK) {
	 	 logI("STM32F407 FatFs - Config.bin Error...Result: %d\n\r", fr);
	  }
	  else {
	 	 size = f_size(&SDFile);
	 	 logI("STM32F407 FatFs - Open File Config.bin... Result: %d Size: %d\n\r", fr, size);
	      fr = f_read(&SDFile, line , size, &ByteRead);
	      if(fr == FR_OK) {
	    	     logI("STM32F407 FatFs ReadFile...line: %s\n\r", line);
	      }
	      else {
	     	 logI("STM32F407 FatFs ReadFile...Error:  Result: %d \n\r", fr);
	      }
	      f_close(&SDFile);
	  }
	  // Test Open File + 8 Caracteres Tela_Principal.bin
	  duracao = HAL_GetTick();
	  fr = f_open(&SDFile, "/Tela_Principal.bin", FA_READ);
	  if(fr != FR_OK) {
	 	 logI("STM32F407 FatFs - Tela_Principal.bin Error...Result: %d\n\r", fr);
	  }
	  else {
	 	 size = f_size(&SDFile);
	 	 logI("STM32F407 FatFs - Open File Tela_Principal.bin... Result: %d  Size:%d\n\r", fr, size);
	 	 timer_sd = HAL_GetTick();
	 	 fr = f_read(&SDFile, line , 100, &ByteRead);
	     timer_sd = HAL_GetTick() - timer_sd;

	 	 if(fr == FR_OK) {
	     	 logI("STM32F407 FatFs ReadFile... Timer: %ld line: %s\n\r", timer_sd, line);
	      }
	      else {
	     	 logI("STM32F407 FatFs ReadFile...Error:  Result: %d \n\r", fr);
	      }
	 	  duracao = HAL_GetTick() - duracao;
	 	  logI("STM32F407 FatFs ReadFile Duracao:  Result: %ld \n\r", duracao);
	      f_close(&SDFile);
	  }
}

uint32_t read_btn_user(void)
{
	uint32_t ret = 0;

	if(HAL_GPIO_ReadPin(BT_USER_GPIO_Port, BT_USER_Pin) == 1) {
		Btn_K1_0 = 0;
		Btn_K1_1++;
		if(Btn_K1_1 > DEBOUNCE_BTN) {
			Btn_K1_1 = DEBOUNCE_BTN + 1;
			ret = 1;
		}
	}
	else {
		Btn_K1_1 = 0;
		Btn_K1_0++;
		if(Btn_K1_0 > DEBOUNCE_BTN) {
			Btn_K1_0 = DEBOUNCE_BTN + 1;
			ret = 0;
		}
	}
	return ret;
}

/* USER CODE END Application */

/************************ (C) COPYRIGHT STMicroelectronics *****END OF FILE****/
